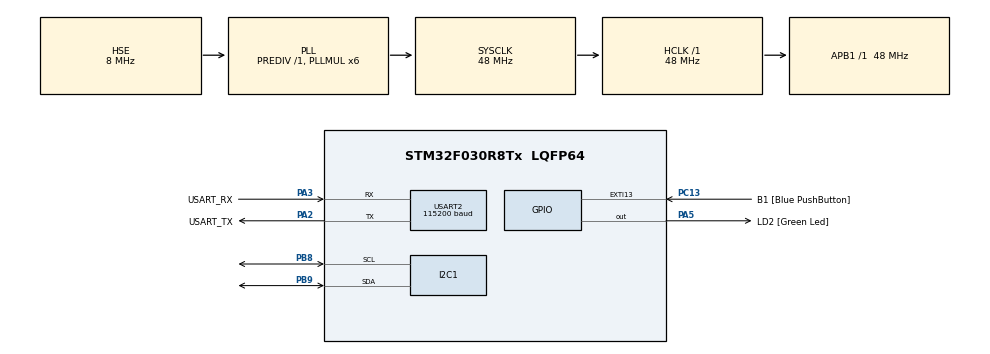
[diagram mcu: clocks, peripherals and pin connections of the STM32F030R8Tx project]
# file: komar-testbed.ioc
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I2C1.Timing=0x00201D2B
Mcu.Family=STM32F0
Mcu.Name=STM32F030R8Tx
Mcu.Package=LQFP64
PA13.GPIO_Label=TMS
PA13.Mode=Serial_Wire
PA13.Signal=SYS_SWDIO
PA14.GPIO_Label=TCK
PA14.Mode=Serial_Wire
PA14.Signal=SYS_SWCLK
PA2.GPIO_Label=USART_TX
PA2.GPIO_Mode=GPIO_MODE_AF_PP
PA2.GPIO_PuPd=GPIO_NOPULL
PA2.GPIO_Speed=GPIO_SPEED_FREQ_LOW
PA2.Mode=Asynchronous
PA2.Signal=USART2_TX
PA3.GPIO_Label=USART_RX
PA3.GPIO_Mode=GPIO_MODE_AF_PP
PA3.GPIO_PuPd=GPIO_NOPULL
PA3.GPIO_Speed=GPIO_SPEED_FREQ_LOW
PA3.Mode=Asynchronous
PA3.Signal=USART2_RX
PA5.GPIO_Label=LD2 [Green Led]
PA5.GPIO_Mode=GPIO_MODE_OUTPUT_PP
PA5.GPIO_PuPd=GPIO_NOPULL
PA5.GPIO_Speed=GPIO_SPEED_FREQ_LOW
PA5.Signal=GPIO_Output
PB8.Mode=I2C
PB8.Signal=I2C1_SCL
PB9.Mode=I2C
PB9.Signal=I2C1_SDA
PC13.GPIO_Label=B1 [Blue PushButton]
PC13.GPIO_ModeDefaultEXTI=GPIO_MODE_IT_FALLING
PC13.Signal=GPXTI13
PC14-OSC32_IN.Mode=LSE-External-Oscillator
PC14-OSC32_IN.Signal=RCC_OSC32_IN
PC15-OSC32_OUT.Mode=LSE-External-Oscillator
PC15-OSC32_OUT.Signal=RCC_OSC32_OUT
PF0-OSC_IN.Mode=HSE-External-Clock-Source
PF0-OSC_IN.Signal=RCC_OSC_IN
PF1-OSC_OUT.Signal=RCC_OSC_OUT
ProjectManager.HeapSize=0x200
ProjectManager.StackSize=0x400
ProjectManager.TargetToolchain=CMake
RCC.AHBFreq_Value=48000000
RCC.APB1Freq_Value=48000000
RCC.APB1TimFreq_Value=48000000
RCC.HCLKFreq_Value=48000000
RCC.PLLMUL=RCC_PLL_MUL6
RCC.PLLSourceVirtual=RCC_PLLSOURCE_HSE
RCC.SYSCLKFreq_VALUE=48000000
RCC.SYSCLKSource=RCC_SYSCLKSOURCE_PLLCLK
USART2.BaudRate=115200
USART2.VirtualMode-Asynchronous=VM_ASYNC
board=NUCLEO-F030R8

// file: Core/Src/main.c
/* USER CODE BEGIN Header */
/**
  ******************************************************************************
  * @file           : main.c
  * @brief          : Main program body
  ******************************************************************************
  * @attention
  *
  * Copyright (c) 2026 STMicroelectronics.
  * All rights reserved.
  *
  * This software is licensed under terms that can be found in the LICENSE file
  * in the root directory of this software component.
  * If no LICENSE file comes with this software, it is provided AS-IS.
  *
  ******************************************************************************
  */
/* USER CODE END Header */
#include "main.h"

/* USER CODE BEGIN Includes */
#include <stdint.h>
#include <stdio.h>
#include <string.h>
/* USER CODE END Includes */

/* USER CODE BEGIN PD */
#define MPU6050_ADDR        (0x68 << 1)   // use 0x69 << 1 if AD0 is tied high
#define MPU6050_WHO_AM_I    0x75
#define MPU6050_PWR_MGMT_1  0x6B
#define MPU6050_CONFIG      0x1A
#define MPU6050_GYRO_CFG    0x1B
#define MPU6050_GYRO_XOUT_H 0x43

/* USER CODE END PD */

I2C_HandleTypeDef hi2c1;

UART_HandleTypeDef huart2;

void SystemClock_Config(void);
static void MX_GPIO_Init(void);
static void MX_USART2_UART_Init(void);
static void MX_I2C1_Init(void);

/* USER CODE BEGIN 0 */
int _write(int fd, char *ptr, int len)
{
    HAL_UART_Transmit(&huart2, (uint8_t *)ptr, len, HAL_MAX_DELAY);
    return len;
}

int read_gyro(int32_t *gx, int32_t *gy, int32_t *gz,
              int32_t off_x, int32_t off_y, int32_t off_z)
{
    uint8_t buf[6];
    HAL_StatusTypeDef st = HAL_I2C_Mem_Read(&hi2c1, MPU6050_ADDR, MPU6050_GYRO_XOUT_H,
                                            I2C_MEMADD_SIZE_8BIT, buf, 6, 100);
    if (st != HAL_OK) {
        printf("Read failed, I2C error=0x%lX\r\n", HAL_I2C_GetError(&hi2c1));
        return 1;
    }

    int16_t rx = (int16_t)((buf[0] << 8) | buf[1]);   // signed raw value
    int16_t ry = (int16_t)((buf[2] << 8) | buf[3]);
    int16_t rz = (int16_t)((buf[4] << 8) | buf[5]);

    // units: 0.01 deg/s  (raw / 65.5 * 100)
    *gx = (int32_t)rx * 1000 / 655 - off_x;
    *gy = (int32_t)ry * 1000 / 655 - off_y;
    *gz = (int32_t)rz * 1000 / 655 - off_z;
    return 0;
}

void calibrate_gyro(int32_t *off_x, int32_t *off_y, int32_t *off_z)
{
    int32_t sx = 0, sy = 0, sz = 0;
    int n = 0;

    printf("Calibrating, keep the sensor still...\r\n");
    for (int i = 0; i < 1000; i++) {
        int32_t x, y, z;
        if (read_gyro(&x, &y, &z, 0, 0, 0) == 0) {
            sx += x; sy += y; sz += z;
            n++;
        }
        HAL_Delay(2);
    }
    if (n > 0) {
        *off_x = sx / n;
        *off_y = sy / n;
        *off_z = sz / n;
    }
    printf("Offsets: %ld %ld %ld\r\n", (long)*off_x, (long)*off_y, (long)*off_z);
}

static void print_axis(const char *name, int32_t v)
{
    char sign = (v < 0) ? '-' : ' ';
    int32_t a = (v < 0) ? -v : v;
    printf("%s: %c%ld.%02ld  ", name, sign, (long)(a / 100), (long)(a % 100));
}

void print_gyro(int32_t gx, int32_t gy, int32_t gz)
{
    print_axis("gx", gx);
    print_axis("gy", gy);
    print_axis("gz", gz);
    printf("\r\n");
}
/* USER CODE END 0 */

int main(void)
{

  /* MCU Configuration--------------------------------------------------------*/

  /* Reset of all peripherals, Initializes the Flash interface and the Systick. */
  HAL_Init();

  /* Configure the system clock */
  SystemClock_Config();

  /* Initialize all configured peripherals */
  MX_GPIO_Init();
  MX_USART2_UART_Init();
  MX_I2C1_Init();
  /* USER CODE BEGIN 2 */
  printf("\r\nHello I2C - NUCLEO-F030R8\r\n");

  uint8_t who = 0;
  HAL_StatusTypeDef st = HAL_I2C_Mem_Read(&hi2c1, MPU6050_ADDR, MPU6050_WHO_AM_I,
                                          I2C_MEMADD_SIZE_8BIT, &who, 1, 100);
  printf("WHO_AM_I: status=%d value=0x%02X (expect 0x68)\r\n", st, who);

  uint8_t value;

  value = 0x00;   // wake up (the chip starts in sleep mode)
  HAL_I2C_Mem_Write(&hi2c1, MPU6050_ADDR, MPU6050_PWR_MGMT_1, I2C_MEMADD_SIZE_8BIT, &value, 1, 100);
  HAL_Delay(100);

  value = 0x05;   // DLPF ~10 Hz
  HAL_I2C_Mem_Write(&hi2c1, MPU6050_ADDR, MPU6050_CONFIG, I2C_MEMADD_SIZE_8BIT, &value, 1, 100);

  value = 0x08;   // gyro range +/-500 deg/s -> 65.5 LSB per deg/s
  HAL_I2C_Mem_Write(&hi2c1, MPU6050_ADDR, MPU6050_GYRO_CFG, I2C_MEMADD_SIZE_8BIT, &value, 1, 100);
  int32_t off_x = 0;
  int32_t off_y = 0;
  int32_t off_z = 0;

  calibrate_gyro(&off_x, &off_y, &off_z);
  /* USER CODE END 2 */

  /* Infinite loop */
  while (1)
  {

    /* USER CODE BEGIN 3 */
    int32_t gx = 0, gy = 0, gz = 0;

    if (read_gyro(&gx, &gy, &gz, off_x, off_y, off_z) == 0) {
      print_gyro(gx, gy, gz);
    }
    HAL_Delay(50);
  }
  /* USER CODE END 3 */
}

void SystemClock_Config(void)
{
  RCC_OscInitTypeDef RCC_OscInitStruct = {0};
  RCC_ClkInitTypeDef RCC_ClkInitStruct = {0};
  RCC_PeriphCLKInitTypeDef PeriphClkInit = {0};

  /** Initializes the RCC Oscillators according to the specified parameters
  * in the RCC_OscInitTypeDef structure.
  */
  RCC_OscInitStruct.OscillatorType = RCC_OSCILLATORTYPE_HSI|RCC_OSCILLATORTYPE_HSE;
  RCC_OscInitStruct.HSEState = RCC_HSE_BYPASS;
  RCC_OscInitStruct.HSIState = RCC_HSI_ON;
  RCC_OscInitStruct.HSICalibrationValue = RCC_HSICALIBRATION_DEFAULT;
  RCC_OscInitStruct.PLL.PLLState = RCC_PLL_ON;
  RCC_OscInitStruct.PLL.PLLSource = RCC_PLLSOURCE_HSE;
  RCC_OscInitStruct.PLL.PLLMUL = RCC_PLL_MUL6;
  RCC_OscInitStruct.PLL.PREDIV = RCC_PREDIV_DIV1;
  if (HAL_RCC_OscConfig(&RCC_OscInitStruct) != HAL_OK)
  {
    Error_Handler();
  }

  /** Initializes the CPU, AHB and APB buses clocks
  */
  RCC_ClkInitStruct.ClockType = RCC_CLOCKTYPE_HCLK|RCC_CLOCKTYPE_SYSCLK
                              |RCC_CLOCKTYPE_PCLK1;
  RCC_ClkInitStruct.SYSCLKSource = RCC_SYSCLKSOURCE_PLLCLK;
  RCC_ClkInitStruct.AHBCLKDivider = RCC_SYSCLK_DIV1;
  RCC_ClkInitStruct.APB1CLKDivider = RCC_HCLK_DIV1;

  if (HAL_RCC_ClockConfig(&RCC_ClkInitStruct, FLASH_LATENCY_1) != HAL_OK)
  {
    Error_Handler();
  }
  PeriphClkInit.PeriphClockSelection = RCC_PERIPHCLK_I2C1;
  PeriphClkInit.I2c1ClockSelection = RCC_I2C1CLKSOURCE_HSI;
  if (HAL_RCCEx_PeriphCLKConfig(&PeriphClkInit) != HAL_OK)
  {
    Error_Handler();
  }
}

static void MX_I2C1_Init(void)
{

  hi2c1.Instance = I2C1;
  hi2c1.Init.Timing = 0x00201D2B;
  hi2c1.Init.OwnAddress1 = 0;
  hi2c1.Init.AddressingMode = I2C_ADDRESSINGMODE_7BIT;
  hi2c1.Init.DualAddressMode = I2C_DUALADDRESS_DISABLE;
  hi2c1.Init.OwnAddress2 = 0;
  hi2c1.Init.OwnAddress2Masks = I2C_OA2_NOMASK;
  hi2c1.Init.GeneralCallMode = I2C_GENERALCALL_DISABLE;
  hi2c1.Init.NoStretchMode = I2C_NOSTRETCH_DISABLE;
  if (HAL_I2C_Init(&hi2c1) != HAL_OK)
  {
    Error_Handler();
  }

  /** Configure Analogue filter
  */
  if (HAL_I2CEx_ConfigAnalogFilter(&hi2c1, I2C_ANALOGFILTER_ENABLE) != HAL_OK)
  {
    Error_Handler();
  }

  /** Configure Digital filter
  */
  if (HAL_I2CEx_ConfigDigitalFilter(&hi2c1, 0) != HAL_OK)
  {
    Error_Handler();
  }

}

static void MX_USART2_UART_Init(void)
{

  huart2.Instance = USART2;
  huart2.Init.BaudRate = 115200;
  huart2.Init.WordLength = UART_WORDLENGTH_8B;
  huart2.Init.StopBits = UART_STOPBITS_1;
  huart2.Init.Parity = UART_PARITY_NONE;
  huart2.Init.Mode = UART_MODE_TX_RX;
  huart2.Init.HwFlowCtl = UART_HWCONTROL_NONE;
  huart2.Init.OverSampling = UART_OVERSAMPLING_16;
  huart2.Init.OneBitSampling = UART_ONE_BIT_SAMPLE_DISABLE;
  huart2.AdvancedInit.AdvFeatureInit = UART_ADVFEATURE_NO_INIT;
  if (HAL_UART_Init(&huart2) != HAL_OK)
  {
    Error_Handler();
  }

}

static void MX_GPIO_Init(void)
{
  GPIO_InitTypeDef GPIO_InitStruct = {0};

  /* GPIO Ports Clock Enable */
  __HAL_RCC_GPIOC_CLK_ENABLE();
  __HAL_RCC_GPIOF_CLK_ENABLE();
  __HAL_RCC_GPIOA_CLK_ENABLE();
  __HAL_RCC_GPIOB_CLK_ENABLE();

  /*Configure GPIO pin Output Level */
  HAL_GPIO_WritePin(LD2_GPIO_Port, LD2_Pin, GPIO_PIN_RESET);

  /*Configure GPIO pin : B1_Pin */
  GPIO_InitStruct.Pin = B1_Pin;
  GPIO_InitStruct.Mode = GPIO_MODE_IT_FALLING;
  GPIO_InitStruct.Pull = GPIO_NOPULL;
  HAL_GPIO_Init(B1_GPIO_Port, &GPIO_InitStruct);

  /*Configure GPIO pin : LD2_Pin */
  GPIO_InitStruct.Pin = LD2_Pin;
  GPIO_InitStruct.Mode = GPIO_MODE_OUTPUT_PP;
  GPIO_InitStruct.Pull = GPIO_NOPULL;
  GPIO_InitStruct.Speed = GPIO_SPEED_FREQ_LOW;
  HAL_GPIO_Init(LD2_GPIO_Port, &GPIO_InitStruct);

}

void Error_Handler(void)
{
  __disable_irq();
  while (1)
  {
  }
}
